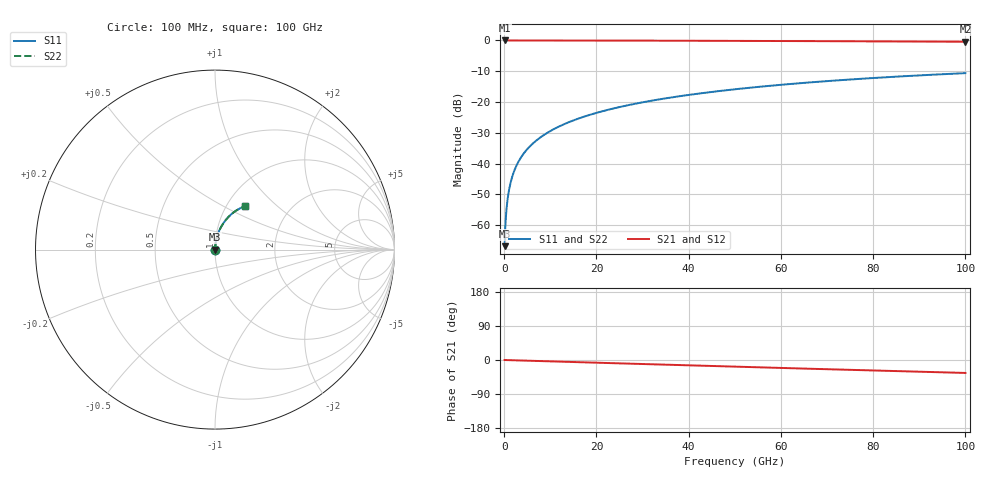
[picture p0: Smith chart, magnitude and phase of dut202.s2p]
! Touchstone file exported from HFSS 2026.1.0
!  File:  C:/ffzhzh/LocalFiles/Ansys_Project_Files/temp_train_TSV_202_1783507480_31944.aedt
!  Generated:  06:46:05 PM Jul  8, 2026
!  Design:  TSV
!  Project:  temp_train_TSV_202_1783507480_31944
! Variables:
!  h_bsmrdl = 2um
!  h_ox = 20um
!  h_rdl = 5um
!  h_sub = 53.05um
!  h_tmrdl = 5um
!  h_tsv = 53.05um
!  h_via = 3um
!  l_bsmrdl = 300um
!  l_sub = 410.04um
!  l_tmrdl = 200um
!  m_sub = 200um
!  pitch = 47.97um
!  r_tsv = 5.02um
!  s_tmrdl = 10um
!  w_bsmrdl = 18um
!  w_sub = 500um
!  w_tmrdl = 12um
!  x_tsv_center1 = 206um
!  x_tsv_center2 = 524um
!  x_tsv_center3 = 736um
!  x_tsv_center4 = 1054um
!  x_tsv_center5 = 1266um
!  x_tsv_center6 = 1584um
# GHz S MA R 50.000000
! Terminal data exported
! Port[1] = TSV1_1_T1
! Port[2] = TSV1_1_T2
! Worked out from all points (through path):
!   1000 points, 100 MHz to 100 GHz, reference 50 ohm
!   highest |S21| = 0.00 dB at 100 MHz (marker M1); lowest = -0.4 dB at 100 GHz (marker M2)
!   group delay of S21, straight-line fit = 950 fs
!   lowest |S11| = -66.8 dB at 100 MHz (marker M3), VSWR 1.00, Z = 50 + j0.0367 ohm
!   |S11| at or under -10 dB: start of sweep to end of sweep
!   |S22| runs from -66.8 to -10.6 dB; largest |S21 - S12| = 5e-15
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0.1  0.0004585 53.0  0.9997 -0.0  0.9997 -0.0  0.0004585 53.0
! Gamma 0 0 0 0
! Port Impedance 50 0 50 0
0.4  0.001453 77.9  0.9997 -0.1  0.9997 -0.1  0.001453 77.9
0.7  0.002492 82.4  0.9997 -0.3  0.9997 -0.3  0.002492 82.4
0.8  0.002841 83.2  0.9997 -0.3  0.9997 -0.3  0.002841 83.2
1.1  0.003886 84.5  0.9996 -0.4  0.9996 -0.4  0.003886 84.5
1.4  0.00493 85.2  0.9996 -0.5  0.9996 -0.5  0.00493 85.2
1.9  0.006663 85.7  0.9996 -0.7  0.9996 -0.7  0.006663 85.7
2.4  0.008383 85.9  0.9995 -0.9  0.9995 -0.9  0.008383 85.9
3  0.01043 86.0  0.9994 -1.1  0.9994 -1.1  0.01043 86.0
3.8  0.01314 85.9  0.9993 -1.4  0.9993 -1.4  0.01314 85.9
4.8  0.01651 85.8  0.9992 -1.7  0.9992 -1.7  0.01651 85.8
5.9  0.02019 85.6  0.999 -2.1  0.999 -2.1  0.02019 85.6
8.8  0.02984 84.9  0.9986 -3.2  0.9986 -3.2  0.02984 84.9
12.4  0.04177 83.9  0.9979 -4.4  0.9979 -4.4  0.04177 83.9
16.8  0.05626 82.6  0.997 -6.0  0.997 -6.0  0.05626 82.6
24.2  0.08038 80.2  0.9951 -8.6  0.9951 -8.6  0.08038 80.2
33.4  0.1099 77.2  0.992 -11.8  0.992 -11.8  0.1099 77.2
41.2  0.1343 74.6  0.9888 -14.5  0.9888 -14.5  0.1343 74.6
50.1  0.1615 71.6  0.9846 -17.6  0.9846 -17.6  0.1615 71.6
66.7  0.2097 66.1  0.9751 -23.2  0.9751 -23.2  0.2097 66.1
83.4  0.2545 60.6  0.9642 -28.8  0.9642 -28.8  0.2545 60.6
100  0.2948 55.3  0.9525 -34.2  0.9525 -34.2  0.2948 55.3
